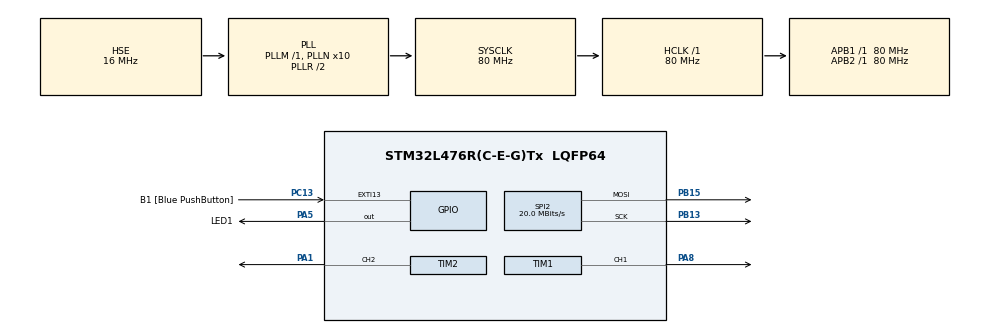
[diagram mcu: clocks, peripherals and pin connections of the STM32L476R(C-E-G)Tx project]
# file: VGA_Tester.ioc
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Dma.Request0=SPI2_TX
Dma.SPI2_TX.0.Direction=DMA_MEMORY_TO_PERIPH
Dma.SPI2_TX.0.Instance=DMA1_Channel5
Dma.SPI2_TX.0.MemDataAlignment=DMA_MDATAALIGN_BYTE
Dma.SPI2_TX.0.MemInc=DMA_MINC_ENABLE
Dma.SPI2_TX.0.Mode=DMA_NORMAL
Dma.SPI2_TX.0.PeriphDataAlignment=DMA_PDATAALIGN_BYTE
Dma.SPI2_TX.0.PeriphInc=DMA_PINC_DISABLE
Dma.SPI2_TX.0.Priority=DMA_PRIORITY_VERY_HIGH
Mcu.Family=STM32L4
Mcu.Name=STM32L476R(C-E-G)Tx
Mcu.Package=LQFP64
NVIC.DMA1_Channel5_IRQn=true\:0\:0\:false\:false\:true\:false\:true\:true
NVIC.PriorityGroup=NVIC_PRIORITYGROUP_4
NVIC.TIM1_UP_TIM16_IRQn=true\:0\:0\:false\:false\:true\:true\:true\:true
PA1.Signal=S_TIM2_CH2
PA13\ (JTMS-SWDIO).Mode=Serial_Wire
PA13\ (JTMS-SWDIO).Signal=SYS_JTMS-SWDIO
PA14\ (JTCK-SWCLK).Mode=Serial_Wire
PA14\ (JTCK-SWCLK).Signal=SYS_JTCK-SWCLK
PA5.GPIO_Label=LED1
PA5.GPIO_ModeDefaultOutputPP=GPIO_MODE_OUTPUT_PP
PA5.GPIO_PuPd=GPIO_NOPULL
PA5.GPIO_Speed=GPIO_SPEED_FREQ_LOW
PA5.Signal=GPIO_Output
PA8.Signal=S_TIM1_CH1
PB13.GPIO_PuPd=GPIO_NOPULL
PB13.Mode=TX_Only_Simplex_Unidirect_Master
PB13.Signal=SPI2_SCK
PB15.Mode=TX_Only_Simplex_Unidirect_Master
PB15.Signal=SPI2_MOSI
PB3\ (JTDO-TRACESWO).Signal=SYS_JTDO-SWO
PC13.GPIO_Label=B1 [Blue PushButton]
PC13.GPIO_ModeDefaultEXTI=GPIO_MODE_IT_FALLING
PC13.GPIO_PuPd=GPIO_NOPULL
PC13.Signal=GPXTI13
PC14-OSC32_IN\ (PC14).Signal=RCC_OSC32_IN
PC15-OSC32_OUT\ (PC15).Signal=RCC_OSC32_OUT
PH0-OSC_IN\ (PH0).Mode=HSE-External-Oscillator
PH0-OSC_IN\ (PH0).Signal=RCC_OSC_IN
PH1-OSC_OUT\ (PH1).Mode=HSE-External-Oscillator
PH1-OSC_OUT\ (PH1).Signal=RCC_OSC_OUT
ProjectManager.HeapSize=0x200
ProjectManager.StackSize=0x400
ProjectManager.TargetToolchain=STM32CubeIDE
RCC.ADCFreq_Value=64000000
RCC.AHBFreq_Value=80000000
RCC.APB1Freq_Value=80000000
RCC.APB1TimFreq_Value=80000000
RCC.APB2Freq_Value=80000000
RCC.APB2TimFreq_Value=80000000
RCC.CortexFreq_Value=80000000
RCC.HCLKFreq_Value=80000000
RCC.HSE_VALUE=16000000
RCC.HSI_VALUE=16000000
RCC.LSE_VALUE=32768
RCC.MSI_VALUE=4000000
RCC.PLLN=10
RCC.PLLSourceVirtual=RCC_PLLSOURCE_HSE
RCC.PREFETCH_ENABLE=1
RCC.SYSCLKFreq_VALUE=80000000
RCC.SYSCLKSource=RCC_SYSCLKSOURCE_PLLCLK
RCC.USBFreq_Value=64000000
RCC.VCOOutputFreq_Value=160000000
SH.S_TIM1_CH1.0=TIM1_CH1,PWM Generation1 CH1
SH.S_TIM2_CH2.0=TIM2_CH2,PWM Generation2 CH2
SPI2.BaudRatePrescaler=SPI_BAUDRATEPRESCALER_4
SPI2.CalculateBaudRate=20.0 MBits/s
SPI2.DataSize=SPI_DATASIZE_8BIT
SPI2.Direction=SPI_DIRECTION_2LINES
SPI2.Mode=SPI_MODE_MASTER
SPI2.VirtualType=VM_MASTER
TIM1.Channel-PWM\ Generation1\ CH1=TIM_CHANNEL_1
TIM1.OCPolarity_1=TIM_OCPOLARITY_LOW
TIM1.Period=2541
TIM1.Pulse-PWM\ Generation1\ CH1=304
TIM1.TIM_MasterOutputTrigger=TIM_TRGO_UPDATE
TIM2.Channel-PWM\ Generation2\ CH2=TIM_CHANNEL_2
TIM2.OCPolarity_2=TIM_OCPOLARITY_LOW
TIM2.Period=524
TIM2.Pulse-PWM\ Generation2\ CH2=1
VP_TIM2_VS_ClockSourceITR.Mode=TriggerSource_ITR0
VP_TIM2_VS_ControllerModeClock.Mode=Clock Mode
board=NUCLEO-L476RG

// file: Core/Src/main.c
/* USER CODE BEGIN Header */
/**
 ******************************************************************************
 * @file           : main.c
 * @brief          : Main program body
 ******************************************************************************
 * @attention
 *
 * Copyright (c) 2026 STMicroelectronics.
 * All rights reserved.
 *
 * This software is licensed under terms that can be found in the LICENSE file
 * in the root directory of this software component.
 * If no LICENSE file comes with this software, it is provided AS-IS.
 *
 ******************************************************************************
 */
/* USER CODE END Header */
#include "main.h"
#include "dma.h"
#include "spi.h"
#include "tim.h"
#include "gpio.h"

/* USER CODE BEGIN Includes */
#include <string.h>
#include <stdint.h>

/* USER CODE END Includes */

/* USER CODE BEGIN PD */
#define VGA_WIDTH  640
#define VGA_HEIGHT 480
#define LINE_BYTES (VGA_WIDTH / 8) // 80 bajtów na linię

/* USER CODE END PD */

/* USER CODE BEGIN PV */
// Bufor ramki w RAM (38.4 KB)
uint8_t frame_buffer[VGA_HEIGHT * LINE_BYTES];
volatile uint16_t v_line_counter = 0;

/* Prosta czcionka 8x8 (Przykładowe znaki ASCII 32-90) -----------------*/
//const uint8_t font8x8[][8] =
//  {[0x20 - 0x20] =
//  { 0x00, 0x00, 0x00, 0x00, 0x00, 0x00, 0x00, 0x00}, // Spacja
//  ['A' - 0x20] =
//  { 0x18, 0x3C, 0x66, 0x7E, 0x66, 0x66, 0x66, 0x00}, ['B' - 0x20] =
//  { 0x7C, 0x66, 0x66, 0x7C, 0x66, 0x66, 0x7C, 0x00}, ['C' - 0x20] =
//  { 0x3C, 0x66, 0x06, 0x06, 0x06, 0x66, 0x3C, 0x00}, ['M' - 0x20] =
//  { 0x66, 0x7E, 0x7E, 0x66, 0x66, 0x66, 0x66, 0x00}, ['O' - 0x20] =
//  { 0x3C, 0x66, 0x66, 0x66, 0x66, 0x66, 0x3C, 0x00}, ['S' - 0x20] =
//  { 0x3E, 0x06, 0x06, 0x3C, 0x60, 0x60, 0x7C, 0x00}, ['T' - 0x20] =
//  { 0x7E, 0x18, 0x18, 0x18, 0x18, 0x18, 0x18, 0x00}, ['V' - 0x20] =
//  { 0x66, 0x66, 0x66, 0x66, 0x66, 0x3C, 0x18, 0x00}, ['G' - 0x20] =
//  { 0x3C, 0x66, 0x06, 0x3E, 0x66, 0x66, 0x3C, 0x00}, ['3' - 0x20] =
//  { 0x3C, 0x06, 0x06, 0x1C, 0x06, 0x06, 0x3C, 0x00}, ['2' - 0x20] =
//  { 0x3C, 0x06, 0x06, 0x3C, 0x60, 0x60, 0x7E, 0x00}, ['K' - 0x20] =
//    {0x66, 0x6C, 0x78, 0x70, 0x78, 0x6C, 0x66, 0x00}};

/* Pełna tablica znaków ASCII 8x8 (od 0x20 do 0x7E) */
const uint8_t font8x8[95][8] = {
    {0x00,0x00,0x00,0x00,0x00,0x00,0x00,0x00}, // spacja (0x20)
    {0x18,0x3C,0x3C,0x18,0x18,0x00,0x18,0x00}, // !
    {0x66,0x66,0x66,0x00,0x00,0x00,0x00,0x00}, // "
    {0x6C,0x6C,0xFE,0x6C,0xFE,0x6C,0x6C,0x00}, // #
    {0x18,0x3E,0x60,0x3C,0x06,0x7C,0x18,0x00}, // $
    {0x00,0xC6,0xCC,0x18,0x30,0x66,0xC6,0x00}, // %
    {0x38,0x6C,0x38,0x76,0xDC,0xCC,0x76,0x00}, // &
    {0x18,0x18,0x30,0x00,0x00,0x00,0x00,0x00}, // '
    {0x0C,0x18,0x30,0x30,0x30,0x18,0x0C,0x00}, // (
    {0x30,0x18,0x0C,0x0C,0x0C,0x18,0x30,0x00}, // )
    {0x00,0x66,0x3C,0xFF,0x3C,0x66,0x00,0x00}, // *
    {0x00,0x18,0x18,0x7E,0x18,0x18,0x00,0x00}, // +
    {0x00,0x00,0x00,0x00,0x00,0x18,0x18,0x30}, // ,
    {0x00,0x00,0x00,0x7E,0x00,0x00,0x00,0x00}, // -
    {0x00,0x00,0x00,0x00,0x00,0x18,0x18,0x00}, // .
    {0x06,0x0C,0x18,0x30,0x60,0xC0,0x80,0x00}, // /
    {0x3C,0x66,0x6E,0x7E,0x76,0x66,0x3C,0x00}, // 0
    {0x18,0x38,0x18,0x18,0x18,0x18,0x7E,0x00}, // 1
    {0x3C,0x66,0x06,0x0C,0x18,0x30,0x7E,0x00}, // 2
    {0x3C,0x66,0x06,0x1C,0x06,0x66,0x3C,0x00}, // 3
    {0x1C,0x3C,0x6C,0x6C,0xFE,0x0C,0x1E,0x00}, // 4
    {0x7E,0x60,0x7C,0x06,0x06,0x66,0x3C,0x00}, // 5
    {0x1C,0x30,0x60,0x7C,0x66,0x66,0x3C,0x00}, // 6
    {0x7E,0x06,0x0C,0x18,0x30,0x30,0x30,0x00}, // 7
    {0x3C,0x66,0x66,0x3C,0x66,0x66,0x3C,0x00}, // 8
    {0x3C,0x66,0x66,0x3E,0x06,0x0C,0x38,0x00}, // 9
    {0x00,0x18,0x18,0x00,0x18,0x18,0x00,0x00}, // :
    {0x00,0x18,0x18,0x00,0x18,0x18,0x30,0x00}, // ;
    {0x0C,0x18,0x30,0x60,0x30,0x18,0x0C,0x00}, // <
    {0x00,0x00,0x7E,0x00,0x7E,0x00,0x00,0x00}, // =
    {0x30,0x18,0x0C,0x06,0x0C,0x18,0x30,0x00}, // >
    {0x3C,0x66,0x06,0x0C,0x18,0x00,0x18,0x00}, // ?
    {0x3C,0x66,0x6E,0x6E,0x60,0x62,0x3C,0x00}, // @
    {0x18,0x3C,0x66,0x66,0x7E,0x66,0x66,0x00}, // A
    {0x7C,0x66,0x66,0x7C,0x66,0x66,0x7C,0x00}, // B
    {0x3C,0x66,0x60,0x60,0x60,0x66,0x3C,0x00}, // C
    {0x78,0x6C,0x66,0x66,0x66,0x6C,0x78,0x00}, // D
    {0x7E,0x60,0x60,0x78,0x60,0x60,0x7E,0x00}, // E
    {0x7E,0x60,0x60,0x78,0x60,0x60,0x60,0x00}, // F
    {0x3C,0x66,0x60,0x6E,0x66,0x66,0x3C,0x00}, // G
    {0x66,0x66,0x66,0x7E,0x66,0x66,0x66,0x00}, // H
    {0x3C,0x18,0x18,0x18,0x18,0x18,0x3C,0x00}, // I
    {0x1E,0x0C,0x0C,0x0C,0x0C,0x6C,0x38,0x00}, // J
    {0x66,0x6C,0x78,0x70,0x78,0x6C,0x66,0x00}, // K
    {0x60,0x60,0x60,0x60,0x60,0x60,0x7E,0x00}, // L
    {0x63,0x77,0x7F,0x6B,0x63,0x63,0x63,0x00}, // M
    {0x66,0x66,0x76,0x7E,0x7E,0x6E,0x66,0x00}, // N
    {0x3C,0x66,0x66,0x66,0x66,0x66,0x3C,0x00}, // O
    {0x7C,0x66,0x66,0x7C,0x60,0x60,0x60,0x00}, // P
    {0x3C,0x66,0x66,0x66,0x66,0x3C,0x0E,0x00}, // Q
    {0x7C,0x66,0x66,0x7C,0x6C,0x66,0x66,0x00}, // R
    {0x3C,0x66,0x30,0x18,0x0C,0x66,0x3C,0x00}, // S
    {0x7E,0x5A,0x18,0x18,0x18,0x18,0x18,0x00}, // T
    {0x66,0x66,0x66,0x66,0x66,0x66,0x3C,0x00}, // U
    {0x66,0x66,0x66,0x66,0x66,0x3C,0x18,0x00}, // V
    {0x63,0x63,0x63,0x6B,0x7F,0x77,0x63,0x00}, // W
    {0x66,0x66,0x3C,0x18,0x3C,0x66,0x66,0x00}, // X
    {0x66,0x66,0x66,0x3C,0x18,0x18,0x18,0x00}, // Y
    {0x7E,0x06,0x0C,0x18,0x30,0x60,0x7E,0x00}, // Z
    {0x3C,0x30,0x30,0x30,0x30,0x30,0x3C,0x00}, // [
    {0xC0,0x60,0x30,0x18,0x0C,0x06,0x02,0x00}, // '\'
    {0x3C,0x0C,0x0C,0x0C,0x0C,0x0C,0x3C,0x00}, // ]
    {0x10,0x38,0x6C,0xC6,0x00,0x00,0x00,0x00}, // ^
    {0x00,0x00,0x00,0x00,0x00,0x00,0x00,0xFF}, // _
    {0x30,0x30,0x18,0x00,0x00,0x00,0x00,0x00}, // `
    {0x00,0x00,0x3C,0x06,0x3E,0x66,0x3E,0x00}, // a
    {0x60,0x60,0x7C,0x66,0x66,0x66,0x7C,0x00}, // b
    {0x00,0x00,0x3C,0x60,0x60,0x60,0x3C,0x00}, // c
    {0x06,0x06,0x3E,0x66,0x66,0x66,0x3E,0x00}, // d
    {0x00,0x00,0x3C,0x66,0x7E,0x60,0x3C,0x00}, // e
    {0x1C,0x30,0x78,0x30,0x30,0x30,0x30,0x00}, // f
    {0x00,0x00,0x3E,0x66,0x66,0x3E,0x06,0x3C}, // g
    {0x60,0x60,0x7C,0x66,0x66,0x66,0x66,0x00}, // h
    {0x18,0x00,0x38,0x18,0x18,0x18,0x3C,0x00}, // i
    {0x06,0x00,0x0E,0x06,0x06,0x06,0x06,0x3C}, // j
    {0x60,0x60,0x66,0x6C,0x78,0x6C,0x66,0x00}, // k
    {0x30,0x30,0x30,0x30,0x30,0x30,0x1C,0x00}, // l
    {0x00,0x00,0x66,0x7F,0x7F,0x6B,0x63,0x00}, // m
    {0x00,0x00,0x7C,0x66,0x66,0x66,0x66,0x00}, // n
    {0x00,0x00,0x3C,0x66,0x66,0x66,0x3C,0x00}, // o
    {0x00,0x00,0x7C,0x66,0x66,0x7C,0x60,0x60}, // p
    {0x00,0x00,0x3E,0x66,0x66,0x3E,0x06,0x06}, // q
    {0x00,0x00,0x7C,0x66,0x60,0x60,0x60,0x00}, // r
    {0x00,0x00,0x3E,0x60,0x3C,0x06,0x7C,0x00}, // s
    {0x30,0x30,0x78,0x30,0x30,0x30,0x1C,0x00}, // t
    {0x00,0x00,0x66,0x66,0x66,0x66,0x3E,0x00}, // u
    {0x00,0x00,0x66,0x66,0x66,0x3C,0x18,0x00}, // v
    {0x00,0x00,0x63,0x6B,0x7F,0x7F,0x36,0x00}, // w
    {0x00,0x00,0x66,0x3C,0x18,0x3C,0x66,0x00}, // x
    {0x00,0x00,0x66,0x66,0x66,0x3E,0x06,0x3C}, // y
    {0x00,0x00,0x7E,0x0C,0x18,0x30,0x7E,0x00}, // z
    {0x0C,0x18,0x18,0x70,0x18,0x18,0x0C,0x00}, // {
    {0x18,0x18,0x18,0x00,0x18,0x18,0x18,0x00}, // |
    {0x30,0x18,0x18,0x0E,0x18,0x18,0x30,0x00}, // }
    {0x31,0x6B,0x46,0x00,0x00,0x00,0x00,0x00}  // ~
};
/* USER CODE END PV */

void SystemClock_Config(void);

/* USER CODE BEGIN 0 */
/* Funkcje graficzne ---------------------------------------------------*/

// Funkcja rysująca piksel (x: 0-639, y: 0-479)
void VGA_DrawPixel(int16_t x, int16_t y, uint8_t color)
{
  if(x < 0 || x >= VGA_WIDTH || y < 0 || y >= VGA_HEIGHT)
  {
    return;
  }
  if(color)
  {
    frame_buffer[y * LINE_BYTES + (x / 8)] |= (0x80 >> (x % 8));
  }
  else
  {
    frame_buffer[y * LINE_BYTES + (x / 8)] &= ~(0x80 >> (x % 8));
  }
}

// Funkcja czyszcząca ekran
void VGA_Clear(uint8_t color)
{
  memset(frame_buffer, 0x00, sizeof(frame_buffer));
}

void VGA_DrawChar(int16_t x, int16_t y, char c, uint8_t color)
{
  if(c < 32 || c > 126)
    c = ' ';
  const uint8_t *glyph = font8x8[c - 0x20];
  for(int i = 0; i < 8; i++)
  {
    for(int j = 0; j < 8; j++)
    {
      if(glyph[i] & (0x80 >> j))
      {
        VGA_DrawPixel(x + j, y + i, color);
      }
    }
  }
}

void VGA_PrintString(int16_t x, int16_t y, char *str, uint8_t color)
{
  while(*str)
  {
    VGA_DrawChar(x, y, *str++, color);
    x += 8;
    if(x + 8 >= VGA_WIDTH)
    {
      x = 0;
      y += 8;
    }
  }
}

/**
 * @brief Przerwanie Timera 1 - wywoływane co 31.7us (co linię H-Sync)
 */
void HAL_TIM_PeriodElapsedCallback(TIM_HandleTypeDef *htim)
{
  if(htim->Instance == TIM1)
  {
    // VGA Active Video: Linie od ok. 35 do 515 (uwzględniając Back Porch)
    if(v_line_counter >= 35 && v_line_counter < 480 + 35)
    {
      uint16_t current_display_line = v_line_counter - 35;

      // Start transferu DMA dla jednej linii (80 bajtów)
      // Używamy niskopoziomowego rejestru dla szybkości
      HAL_SPI_Transmit_DMA(&hspi2, &frame_buffer[current_display_line * LINE_BYTES], LINE_BYTES);
    }

    v_line_counter++;
    if(v_line_counter >= 525)
    {
      v_line_counter = 0;
    }
  }
}

void VGA_Init()
{
  // Start sygnałów synchronizacji
  HAL_TIM_PWM_Start(&htim1, TIM_CHANNEL_1); // H-Sync
  HAL_TIM_PWM_Start(&htim2, TIM_CHANNEL_2); // V-Sync

  // Włączenie przerwania TIM1, aby wiedzieć, kiedy zacząć wysyłać linię danych
  HAL_TIM_Base_Start_IT(&htim1);
}
/* USER CODE END 0 */

int main(void)
{

  /* MCU Configuration--------------------------------------------------------*/

  /* Reset of all peripherals, Initializes the Flash interface and the Systick. */
  HAL_Init();

  /* Configure the system clock */
  SystemClock_Config();

  /* Initialize all configured peripherals */
  MX_GPIO_Init();
  MX_DMA_Init();
  MX_SPI2_Init();
  MX_TIM1_Init();
  MX_TIM2_Init();
  /* USER CODE BEGIN 2 */
  VGA_Clear(0);

  // Rysowanie ramki testowej
//  for(int i = 0; i < VGA_HEIGHT; i++)
//  {
//    VGA_DrawPixel(50, i, 1);
//    VGA_DrawPixel(151, i, 1);
//    VGA_DrawPixel(200, i, 1);
//    VGA_DrawPixel(250, i, 1);
//    VGA_DrawPixel(300, i, 1);
//    VGA_DrawPixel(350, i, 1);
////    VGA_DrawPixel(i, VGA_HEIGHT - 1, 1);
//  }
//  for(int i = 0; i < VGA_HEIGHT; i++)
//  {
//    VGA_DrawPixel(i, i, 1);
//  }

  memset(frame_buffer, 0, VGA_HEIGHT * LINE_BYTES);

  // Tekst testowy
  VGA_PrintString(0, 10, "STM32 VGA OK", 1);
  VGA_PrintString(0, 20, "640X480 MONO", 1);

  // Wypełnienie bufora testowym wzorem (paski)
//  for(int y=0; y<480; y++)
//  {
//    for(int x=0; x<640; x++)
//    {
//      VGA_DrawPixel(x, y, (x ^ y) & 0x08);
//    }
//  }
  // Start Timerów
  VGA_Init();

  /* USER CODE END 2 */

  /* Infinite loop */
  while(1)
  {

    /* USER CODE BEGIN 3 */
    HAL_GPIO_TogglePin(LED1_GPIO_Port, LED1_Pin);
    HAL_Delay(250);
  }
  /* USER CODE END 3 */
}

void SystemClock_Config(void)
{
  RCC_OscInitTypeDef RCC_OscInitStruct =
    {0};
  RCC_ClkInitTypeDef RCC_ClkInitStruct =
    {0};

  /** Configure the main internal regulator output voltage
   */
  if(HAL_PWREx_ControlVoltageScaling(PWR_REGULATOR_VOLTAGE_SCALE1) != HAL_OK)
  {
    Error_Handler();
  }

  /** Initializes the RCC Oscillators according to the specified parameters
   * in the RCC_OscInitTypeDef structure.
   */
  RCC_OscInitStruct.OscillatorType = RCC_OSCILLATORTYPE_HSE;
  RCC_OscInitStruct.HSEState = RCC_HSE_ON;
  RCC_OscInitStruct.PLL.PLLState = RCC_PLL_ON;
  RCC_OscInitStruct.PLL.PLLSource = RCC_PLLSOURCE_HSE;
  RCC_OscInitStruct.PLL.PLLM = 1;
  RCC_OscInitStruct.PLL.PLLN = 10;
  RCC_OscInitStruct.PLL.PLLP = RCC_PLLP_DIV7;
  RCC_OscInitStruct.PLL.PLLQ = RCC_PLLQ_DIV2;
  RCC_OscInitStruct.PLL.PLLR = RCC_PLLR_DIV2;
  if(HAL_RCC_OscConfig(&RCC_OscInitStruct) != HAL_OK)
  {
    Error_Handler();
  }

  /** Initializes the CPU, AHB and APB buses clocks
   */
  RCC_ClkInitStruct.ClockType = RCC_CLOCKTYPE_HCLK | RCC_CLOCKTYPE_SYSCLK | RCC_CLOCKTYPE_PCLK1 | RCC_CLOCKTYPE_PCLK2;
  RCC_ClkInitStruct.SYSCLKSource = RCC_SYSCLKSOURCE_PLLCLK;
  RCC_ClkInitStruct.AHBCLKDivider = RCC_SYSCLK_DIV1;
  RCC_ClkInitStruct.APB1CLKDivider = RCC_HCLK_DIV1;
  RCC_ClkInitStruct.APB2CLKDivider = RCC_HCLK_DIV1;

  if(HAL_RCC_ClockConfig(&RCC_ClkInitStruct, FLASH_LATENCY_4) != HAL_OK)
  {
    Error_Handler();
  }
}

void Error_Handler(void)
{
  __disable_irq();
  while(1)
  {
  }
}
